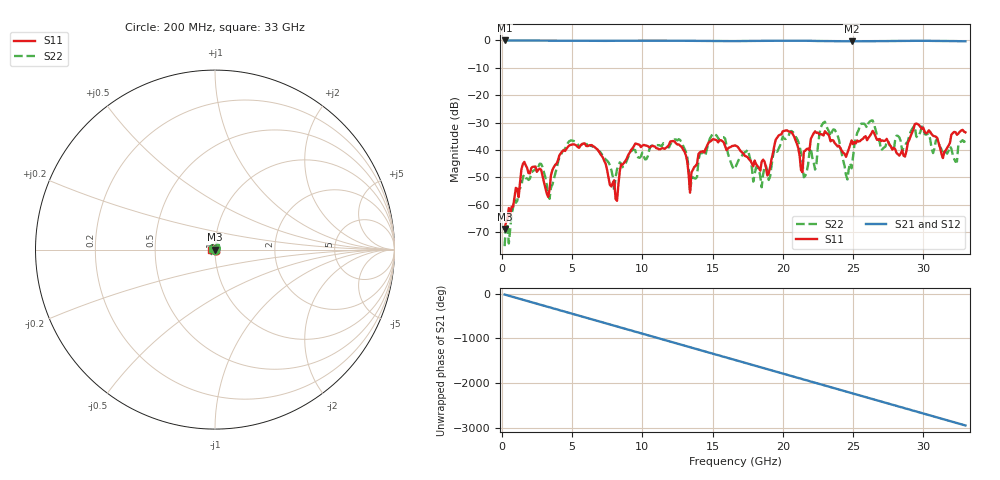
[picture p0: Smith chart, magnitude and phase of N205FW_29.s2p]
# GHZ S RI R 50
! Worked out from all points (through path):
!   329 points, 200 MHz to 33 GHz, reference 50 ohm
!   highest |S21| = -0.01 dB at 200 MHz (marker M1); lowest = -0.3 dB at 24.9 GHz (marker M2)
!   group delay of S21, straight-line fit = 248 ps
!   lowest |S11| = -68.9 dB at 200 MHz (marker M3), VSWR 1.00, Z = 50 - j0.0341 ohm
!   |S11| at or under -10 dB: start of sweep to end of sweep
!   |S22| runs from -75.2 to -29.2 dB; largest |S21 - S12| = 0.0022
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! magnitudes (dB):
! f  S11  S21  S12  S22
! 200 MHz  -68.9  0.0  0.0  -75.2
! 1.6 GHz  -44.4  0.0  0.0  -49.1
! 2.8 GHz  -47.3  -0.1  -0.1  -45.1
! 3.3 GHz  -57.2  -0.1  -0.1  -56.5
! 4.1 GHz  -42.0  -0.1  -0.1  -42.6
! 5.7 GHz  -38.0  -0.1  -0.1  -37.9
! 8.2 GHz  -58.6  -0.1  -0.1  -47.2
! 9.5 GHz  -37.7  -0.1  -0.1  -40.1
! 11.2 GHz  -39.8  -0.1  -0.1  -38.3
! 12.7 GHz  -38.5  -0.1  -0.1  -36.4
! 13.4 GHz  -55.6  -0.2  -0.2  -55.6
! 15 GHz  -36.1  -0.3  -0.3  -34.2
! 16.6 GHz  -38.3  -0.2  -0.2  -46.8
! 18.9 GHz  -49.3  -0.2  -0.2  -47.7
! 20.3 GHz  -32.9  -0.1  -0.1  -35.5
! 21.4 GHz  -48.2  -0.1  -0.1  -44.2
! 22.1 GHz  -34.9  -0.2  -0.2  -42.8
! 23 GHz  -33.2  -0.2  -0.2  -29.7
! 24.9 GHz  -36.5  -0.3  -0.3  -46.7
! 25.5 GHz  -36.8  -0.3  -0.3  -30.7
! 27.6 GHz  -38.0  -0.2  -0.2  -38.3
! 33 GHz  -33.6  -0.3  -0.3  -36.7
